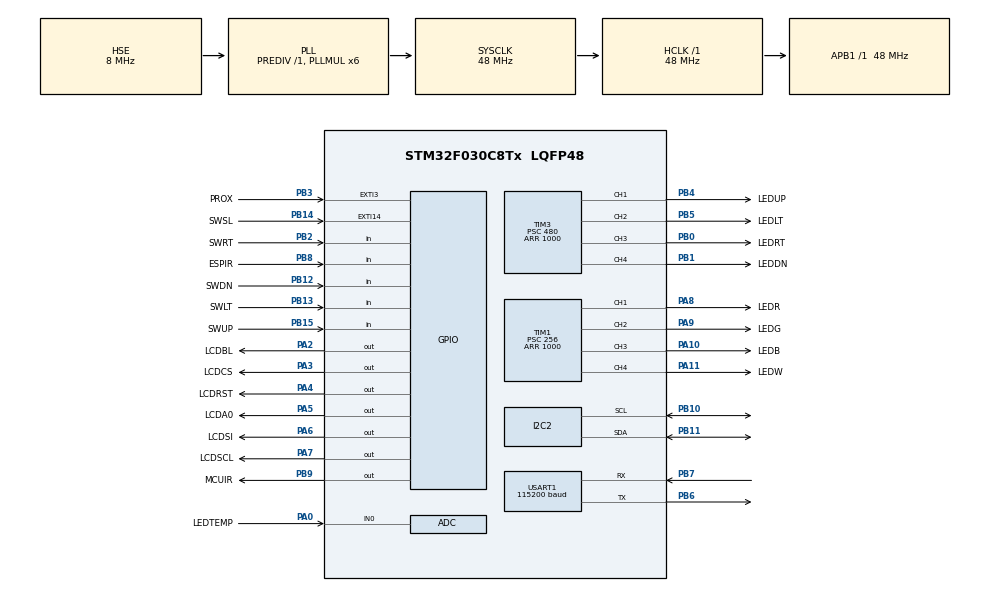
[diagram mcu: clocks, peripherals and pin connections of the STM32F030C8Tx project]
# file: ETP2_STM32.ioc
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Mcu.Family=STM32F0
RTC.AlarmMaskHours-Alarm\ A=RTC_ALARMMASK_HOURS
SH.S_TIM1_CH4.0=TIM1_CH4,PWM Generation4 CH4
Dma.USART1_TX.1.MemInc=DMA_MINC_ENABLE
PB10.Mode=I2C
USART1.BaudRate=115200
PB14.GPIO_Label=SWSL
I2C2.Timing=0xA010B3FF
PA0.GPIO_Label=LEDTEMP
VP_RTC_VS_RTC_Activate.Mode=RTC_Enabled
PA6.GPIO_Label=LCDSI
PB0.GPIO_Label=LEDRT
RTC.AlarmMaskMinutes-Alarm\ A=RTC_ALARMMASK_MINUTES
PB13.GPIO_Label=SWLT
PB11.Signal=I2C2_SDA
PB13.Signal=GPIO_Input
PB15.Signal=GPIO_Input
TIM3.Channel-PWM\ Generation4\ CH4=TIM_CHANNEL_4
VP_RTC_VS_RTC_Alarm_A_Intern.Mode=Alarm A
RCC.SYSCLKSource=RCC_SYSCLKSOURCE_PLLCLK
ProjectManager.StackSize=0x400
NVIC.RTC_IRQn=true\:1\:0\:true\:false\:true\:true\:true
TIM1.Prescaler=256
NVIC.ADC1_IRQn=true\:3\:0\:true\:false\:true\:true\:true
TIM1.Channel-PWM\ Generation4\ CH4=TIM_CHANNEL_4
PB1.GPIO_PuPd=GPIO_NOPULL
RCC.HCLKFreq_Value=48000000
TIM3.Period=1000
PB6.Signal=USART1_TX
PB6.Mode=Asynchronous
RCC.AHBFreq_Value=48000000
PB5.GPIO_ModeDefaultPP=GPIO_MODE_AF_OD
Dma.USART1_RX.0.Priority=DMA_PRIORITY_HIGH
TIM3.Channel-PWM\ Generation1\ CH1=TIM_CHANNEL_1
PB2.Signal=GPIO_Input
TIM14.Period=1000
RCC.RTCClockSelection=RCC_RTCCLKSOURCE_LSE
RTC.AlarmMaskSeconds-Alarm\ A=RTC_ALARMMASK_SECONDS
RCC.PLLMUL=RCC_PLL_MUL6
PB12.GPIO_Label=SWDN
PC14-OSC32_IN.Mode=LSE-External-Oscillator
TIM1.Channel-PWM\ Generation1\ CH1=TIM_CHANNEL_1
PA14.Mode=Serial_Wire
TIM3.Prescaler=480
PB1.GPIO_Label=LEDDN
PA10.GPIO_Label=LEDB
PA0.Mode=IN0
PB7.Signal=USART1_RX
PA8.Signal=S_TIM1_CH1
SH.S_TIM3_CH1.0=TIM3_CH1,PWM Generation1 CH1
TIM6.Period=500
Dma.USART1_RX.0.MemInc=DMA_MINC_ENABLE
VP_TIM1_VS_ClockSourceINT.Mode=Internal
Dma.USART1_TX.1.PeriphDataAlignment=DMA_PDATAALIGN_BYTE
PA0.Signal=ADC_IN0
RTC.AlarmMaskDateWeekDay-Alarm\ A=RTC_ALARMMASK_DATEWEEKDAY
Mcu.Package=LQFP48
PB9.Signal=GPIO_Output
PB1.Signal=S_TIM3_CH4
PA6.Signal=GPIO_Output
PA2.GPIO_Label=LCDBL
PA10.Signal=S_TIM1_CH3
PB9.GPIO_PuPd=GPIO_PULLUP
VP_RTC_VS_RTC_Calendar.Mode=RTC_Calendar
PB5.GPIO_Label=LEDLT
Dma.Request1=USART1_TX
RCC.APB1TimFreq_Value=48000000
Dma.USART1_RX.0.Mode=DMA_CIRCULAR
Dma.USART1_TX.1.Priority=DMA_PRIORITY_HIGH
TIM1.Period=1000
VP_TIM14_VS_ClockSourceINT.Mode=Enable_Timer
PF1-OSC_OUT.Mode=HSE-External-Oscillator
Dma.Request0=USART1_RX
PA4.GPIO_Label=LCDRST
Dma.USART1_RX.0.Instance=DMA1_Channel3
VP_TIM3_VS_ClockSourceINT.Mode=Internal
PF1-OSC_OUT.Signal=RCC_OSC_OUT
PB4.Signal=S_TIM3_CH1
PA3.Signal=GPIO_Output
Dma.USART1_TX.1.Direction=DMA_MEMORY_TO_PERIPH
PB3.GPIO_Label=PROX
PB14.GPIO_ModeDefaultEXTI=GPIO_MODE_IT_RISING_FALLING
RCC.PLLSourceVirtual=RCC_PLLSOURCE_HSE
PC15-OSC32_OUT.Mode=LSE-External-Oscillator
Dma.USART1_TX.1.Instance=DMA1_Channel2
NVIC.TIM14_IRQn=true\:1\:0\:true\:false\:true\:true\:true
Dma.USART1_RX.0.PeriphDataAlignment=DMA_PDATAALIGN_BYTE
PB9.GPIO_Label=MCUIR
PA9.GPIO_Label=LEDG
TIM6.Prescaler=480
VP_TIM6_VS_ClockSourceINT.Mode=Enable_Timer
PA11.GPIO_Label=LEDW
PC14-OSC32_IN.Signal=RCC_OSC32_IN
SH.S_TIM3_CH3.0=TIM3_CH3,PWM Generation3 CH3
NVIC.TIM6_IRQn=true\:2\:0\:true\:false\:true\:true\:true
USART1.VirtualMode-Asynchronous=VM_ASYNC
PA13.Signal=SYS_SWDIO
TIM3.Channel-PWM\ Generation3\ CH3=TIM_CHANNEL_3
PB8.GPIO_Label=ESPIR
PA8.GPIO_Label=LEDR
SH.S_TIM1_CH1.0=TIM1_CH1,PWM Generation1 CH1
PB11.Mode=I2C
ProjectManager.TargetToolchain=STM32CubeIDE
RTC.Year=20
I2C2.Analog_Filter=I2C_ANALOGFILTER_DISABLE
Dma.USART1_RX.0.Direction=DMA_PERIPH_TO_MEMORY
NVIC.I2C2_IRQn=true\:2\:0\:true\:false\:true\:true\:true
PA9.Signal=S_TIM1_CH2
TIM1.Channel-PWM\ Generation2\ CH2=TIM_CHANNEL_2
PB4.GPIO_PuPd=GPIO_NOPULL
PC15-OSC32_OUT.Signal=RCC_OSC32_OUT
Dma.USART1_RX.0.PeriphInc=DMA_PINC_DISABLE
PF0-OSC_IN.Mode=HSE-External-Oscillator
PB10.Signal=I2C2_SCL
PB14.Signal=GPXTI14
PA5.Signal=GPIO_Output
SH.S_TIM3_CH2.0=TIM3_CH2,PWM Generation2 CH2
PB4.GPIO_ModeDefaultPP=GPIO_MODE_AF_OD
PB1.GPIO_ModeDefaultPP=GPIO_MODE_AF_OD
Dma.USART1_TX.1.MemDataAlignment=DMA_MDATAALIGN_BYTE
board=custom
PB0.GPIO_ModeDefaultPP=GPIO_MODE_AF_OD
PB4.GPIO_Label=LEDUP
PB15.GPIO_Label=SWUP
SH.S_TIM1_CH2.0=TIM1_CH2,PWM Generation2 CH2
Dma.USART1_RX.0.MemDataAlignment=DMA_MDATAALIGN_BYTE
PA13.Mode=Serial_Wire
I2C2.Speed=10
Mcu.Name=STM32F030C8Tx
RTC.Alarm-Alarm\ A=RTC_ALARM_A
TIM14.Prescaler=480
PA2.Signal=GPIO_Output
PB3.Signal=GPXTI3
PA4.Signal=GPIO_Output
RCC.SYSCLKFreq_VALUE=48000000
PB5.Signal=S_TIM3_CH2
PA7.GPIO_Label=LCDSCL
PA5.GPIO_Label=LCDA0
PB5.GPIO_PuPd=GPIO_NOPULL
Dma.USART1_TX.1.Mode=DMA_NORMAL
PB7.Mode=Asynchronous
PA11.Signal=S_TIM1_CH4
VP_TIM15_VS_ClockSourceINT.Mode=Internal
PA14.Signal=SYS_SWCLK
PB2.GPIO_Label=SWRT
ProjectManager.HeapSize=0x200
Dma.USART1_TX.1.PeriphInc=DMA_PINC_DISABLE
SH.S_TIM1_CH3.0=TIM1_CH3,PWM Generation3 CH3
TIM3.Channel-PWM\ Generation2\ CH2=TIM_CHANNEL_2
NVIC.DMA1_Channel2_3_IRQn=true\:0\:0\:false\:false\:true\:false\:true
PB8.Signal=GPIO_Input
PF0-OSC_IN.Signal=RCC_OSC_IN
TIM1.Channel-PWM\ Generation3\ CH3=TIM_CHANNEL_3
RCC.APB1Freq_Value=48000000
PB0.Signal=S_TIM3_CH3
PB12.Signal=GPIO_Input
PB0.GPIO_PuPd=GPIO_NOPULL
PA3.GPIO_Label=LCDCS
SH.S_TIM3_CH4.0=TIM3_CH4,PWM Generation4 CH4
PA7.Signal=GPIO_Output

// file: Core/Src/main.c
/* USER CODE BEGIN Header */
/**
  ******************************************************************************
  * @file           : main.c
  * @brief          : Main program body
  ******************************************************************************
  * @attention
  *
  * <h2><center>&copy; Copyright (c) 2020 STMicroelectronics.
  * All rights reserved.</center></h2>
  *
  * This software component is licensed by ST under BSD 3-Clause license,
  * the "License"; You may not use this file except in compliance with the
  * License. You may obtain a copy of the License at:
  *                        opensource.org/licenses/BSD-3-Clause
  *
  ******************************************************************************
  */
/* USER CODE END Header */

#include "main.h"
#include "adc.h"
#include "dma.h"
#include "i2c.h"
#include "rtc.h"
#include "tim.h"
#include "usart.h"
#include "gpio.h"

/* USER CODE BEGIN Includes */
#include "shtc3.h"
#include "st7565.h"
#include <string.h>
#include "event_handler.h"
#include "state_machine.h"
#include "action_handler.h"
/* USER CODE END Includes */

/* USER CODE BEGIN PD */
#define SMOOTH_LEN      64U     // Must have 2 as a base
#define SMOOTH_SHIFT    6U      // Must be the exponent of SMOOTH_LEN

// UART defines
#define UART_DATA_LEN   5U

// LED enums and structs
typedef enum {
    cRed = 0,
    cGreen = 1,
    cBlue = 2,
    cBrightness = 3 // I know, this is not a color
} colorInput;

typedef struct {
    uint8_t colors[4][SMOOTH_LEN];
    uint8_t time[4];
} Smoother_TypeDef;
/* USER CODE END PD */

/* USER CODE BEGIN PV */

// UART variables
uint8_t uartRxData[UART_DATA_LEN] = {0};    // Most recent data
uint8_t workingData[4] = {0};
uint8_t setData[4] = {0};                   // Data currently displayed
uint8_t tempData[4];

// LED variables
uint16_t rgbwValues[4];
uint8_t lightSwitch = 0;
Smoother_TypeDef smoother = {0};
uint8_t userOverride = 0;
uint16_t userRed = 0;
uint16_t userGreen = 0;
uint16_t userBlue = 0;
uint16_t userWhite = 0;

// I2C buffer
//uint8_t shtc3RxBuf[6];
//uint8_t shtc3TxBuf[2];

// RTC ISR
static uint8_t counter = 0;

/* USER CODE END PV */

void SystemClock_Config(void);
/* USER CODE BEGIN PFP */
uint8_t ColorSmoother(Smoother_TypeDef *holder, uint8_t input, colorInput color);
/* USER CODE END PFP */

int main(void)
{

  /* MCU Configuration--------------------------------------------------------*/

  /* Reset of all peripherals, Initializes the Flash interface and the Systick. */
  HAL_Init();

  /* Configure the system clock */
  SystemClock_Config();

  /* Initialize all configured peripherals */
  MX_GPIO_Init();
  MX_DMA_Init();
  MX_RTC_Init();
  MX_TIM1_Init();
  MX_TIM15_Init();
  MX_USART1_UART_Init();
  MX_ADC_Init();
  MX_I2C2_Init();
  MX_TIM3_Init();
  MX_TIM6_Init();
  MX_TIM14_Init();
  /* USER CODE BEGIN 2 */

    HAL_RTC_DeactivateAlarm(&hrtc, RTC_ALARM_A);

    __HAL_TIM_SET_COMPARE(&htim3, LED_CH_UP, 900);
    HAL_TIM_PWM_Start(&htim3, LED_CH_UP);
    __HAL_TIM_SET_COMPARE(&htim3, LED_CH_DN, 900);
    HAL_TIM_PWM_Start(&htim3, LED_CH_DN);
    __HAL_TIM_SET_COMPARE(&htim3, LED_CH_LT, 900);
    HAL_TIM_PWM_Start(&htim3, LED_CH_LT);
    __HAL_TIM_SET_COMPARE(&htim3, LED_CH_RT, 900);
    HAL_TIM_PWM_Start(&htim3, LED_CH_RT);

    //HAL_TIM_Base_Start_IT(&htim6);	// Color change timer

    //HAL_I2C_Master_Transmit(&hi2c2, SHTC3_ADDR,

    st7565_init();
    st7565_backlight_enable();
    st7565_set_brightness(0);

    HAL_Delay(10);

    // Show startup screen
    st7565_clear_buffer();
    st7565_drawbitmap(43, 5, atom_symbol, 43, 51, 10);
    st7565_drawstring(22, 7, "Moodlight 2020");
    st7565_drawstring(0, 0, "Manuel");
    st7565_drawstring(0, 1, "Schmid");
    st7565_drawstring(85, 0, "Lukas");
    st7565_drawstring(85, 1, "Eugster");
    st7565_write_buffer();

    HAL_Delay(3000);
    st7565_clear_buffer();

    event_t event;
    fsm_init();

    // RTC init
    RTC_AlarmTypeDef sAlarm;
    HAL_RTC_GetAlarm(&hrtc, &sAlarm, RTC_ALARM_A, RTC_FORMAT_BCD);
    HAL_RTC_SetAlarm_IT(&hrtc, &sAlarm, RTC_FORMAT_BCD);

    // UART init
    HAL_UART_Receive_DMA(&huart1, uartRxData, UART_DATA_LEN);
    HAL_UART_DMAStop(&huart1);
    HAL_UART_Receive_DMA(&huart1, uartRxData, UART_DATA_LEN);
    HAL_TIM_Base_Start_IT(&htim6);

  /* USER CODE END 2 */

  /* Infinite loop */
  /* USER CODE BEGIN WHILE */

#pragma clang diagnostic push
#pragma ide diagnostic ignored "EndlessLoop"
    while (1) {

        event = eh_get_event();
        if (event != EV_NO_EVENT) {
            fsm_handle_event(event);
        }
    /* USER CODE END WHILE */

    /* USER CODE BEGIN 3 */
    }
#pragma clang diagnostic pop
  /* USER CODE END 3 */
}

void SystemClock_Config(void)
{
  RCC_OscInitTypeDef RCC_OscInitStruct = {0};
  RCC_ClkInitTypeDef RCC_ClkInitStruct = {0};
  RCC_PeriphCLKInitTypeDef PeriphClkInit = {0};

  /** Configure LSE Drive Capability
  */
  HAL_PWR_EnableBkUpAccess();
  __HAL_RCC_LSEDRIVE_CONFIG(RCC_LSEDRIVE_HIGH);
  /** Initializes the CPU, AHB and APB busses clocks
  */
  RCC_OscInitStruct.OscillatorType = RCC_OSCILLATORTYPE_HSI14|RCC_OSCILLATORTYPE_HSE
                              |RCC_OSCILLATORTYPE_LSE;
  RCC_OscInitStruct.HSEState = RCC_HSE_ON;
  RCC_OscInitStruct.LSEState = RCC_LSE_ON;
  RCC_OscInitStruct.HSI14State = RCC_HSI14_ON;
  RCC_OscInitStruct.HSI14CalibrationValue = 16;
  RCC_OscInitStruct.PLL.PLLState = RCC_PLL_ON;
  RCC_OscInitStruct.PLL.PLLSource = RCC_PLLSOURCE_HSE;
  RCC_OscInitStruct.PLL.PLLMUL = RCC_PLL_MUL6;
  RCC_OscInitStruct.PLL.PREDIV = RCC_PREDIV_DIV1;
  if (HAL_RCC_OscConfig(&RCC_OscInitStruct) != HAL_OK)
  {
    Error_Handler();
  }
  /** Initializes the CPU, AHB and APB busses clocks
  */
  RCC_ClkInitStruct.ClockType = RCC_CLOCKTYPE_HCLK|RCC_CLOCKTYPE_SYSCLK
                              |RCC_CLOCKTYPE_PCLK1;
  RCC_ClkInitStruct.SYSCLKSource = RCC_SYSCLKSOURCE_PLLCLK;
  RCC_ClkInitStruct.AHBCLKDivider = RCC_SYSCLK_DIV1;
  RCC_ClkInitStruct.APB1CLKDivider = RCC_HCLK_DIV1;

  if (HAL_RCC_ClockConfig(&RCC_ClkInitStruct, FLASH_LATENCY_1) != HAL_OK)
  {
    Error_Handler();
  }
  PeriphClkInit.PeriphClockSelection = RCC_PERIPHCLK_USART1|RCC_PERIPHCLK_RTC;
  PeriphClkInit.Usart1ClockSelection = RCC_USART1CLKSOURCE_PCLK1;
  PeriphClkInit.RTCClockSelection = RCC_RTCCLKSOURCE_LSE;
  if (HAL_RCCEx_PeriphCLKConfig(&PeriphClkInit) != HAL_OK)
  {
    Error_Handler();
  }
}

/* USER CODE BEGIN 4 */
void HAL_TIM_PeriodElapsedCallback(TIM_HandleTypeDef *htim)
{
	if (htim->Instance == TIM6) {
        if (lightSwitch && !userOverride) {
            tempData[0] = workingData[0];
            tempData[1] = workingData[1];
            tempData[2] = workingData[2];
            tempData[3] = workingData[3];
            uint8_t red     = ColorSmoother(&smoother, tempData[0], cRed);
            uint8_t green   = ColorSmoother(&smoother, tempData[1], cGreen);
            uint8_t blue    = ColorSmoother(&smoother, tempData[2], cBlue);
            uint8_t bright  = ColorSmoother(&smoother, tempData[3], cBrightness);

            // Convert RGB to RGBW
            if ((setData[0] != red) || (setData[1] != green) || (setData[2] != blue) || (setData[3] != bright)) {
                uint8_t white;  // Also min value
                uint8_t max;

                // Find min and max values
                if (red <= green) {
                    if (red <= blue) {          // red <= (green && blue)
                        white = red;
                        if (blue >= green) {    // red <= green <= blue
                            max = blue;
                        } else {
                            max = green;        // red <= blue < green
                        }
                    } else {                    // blue < red <= green
                        white = blue;
                        max = green;
                    }
                } else if (green <= blue) {     // green <= (red && blue)
                    white = green;
                    if (blue >= red) {          // green <= red <= blue
                        max = blue;
                    } else {                    // green <= blue < red
                        max = red;
                    }
                } else {                        // blue < green < red
                    white = blue;
                    max = red;
                }

                float multiplier = (float)white / 255.0f / (float)max + 1.0f;

                rgbwValues[0] = multiplier * (float)red - (float)white;
                rgbwValues[1] = multiplier * (float)green - (float)white;
                rgbwValues[2] = multiplier * (float)blue - (float)white;
                rgbwValues[3] = white;

                float brightness = (float)bright / 100.0f;
                for (uint8_t i = 0; i < 4; i++) {
                    rgbwValues[i] = rgbwValues[i] << 1U;    // Adjust scale (max. value 255 becomes 510)
                    rgbwValues[i] *= brightness;            // Scale with brightness
                }

                // Apply new RGBW values
                ah_setPWM(&htim1, rgbwValues[0], rgbwValues[1], rgbwValues[2], rgbwValues[3]);

                setData[0] = tempData[0];
                setData[1] = tempData[1];
                setData[2] = tempData[2];
                setData[3] = tempData[3];
            }
        } else if (!lightSwitch && !userOverride) {
            ColorSmoother(&smoother, 0, cRed);
            ColorSmoother(&smoother, 0, cGreen);
            ColorSmoother(&smoother, 0, cBlue);
            ColorSmoother(&smoother, 0, cBrightness);
            ah_setPWM(&htim1, 0, 0, 0, 0);
        } else if (userOverride) {
            ah_setPWM(&htim1, userRed, userGreen, userBlue, userWhite);
        }
	}
}

void HAL_RTC_AlarmAEventCallback(RTC_HandleTypeDef *hrtc) {
    if (state == HOME_SCREEN) {
        if (counter < 4) {
            counter += 1;
        } else {
            st7565_clear_buffer();
            ah_draw_time();
            ah_draw_date();
            ah_draw_sensor();
            ah_draw_snooze();
            ah_draw_alarm();
            counter = 0;
        }
    }
}

void HAL_UART_RxCpltCallback(UART_HandleTypeDef *huart) {
    lightSwitch = uartRxData[1];
    workingData[0] = uartRxData[2]; // Red
    workingData[1] = uartRxData[3]; // Green
    workingData[2] = uartRxData[4]; // Blue
    workingData[3] = uartRxData[0]; // Brightness
    userOverride = 0;
}

uint8_t ColorSmoother(Smoother_TypeDef *holder, uint8_t input, colorInput color) {
    if (holder->time[color] >= SMOOTH_LEN) {
        holder->time[color] = 0;
    }

    holder->colors[color][holder->time[color]] = input;

    uint16_t sum = 0;
    for(uint8_t i = 0; i < SMOOTH_LEN; i++) {
        sum += holder->colors[color][i];
    }

    holder->time[color]++;
    return (uint8_t)(sum >> SMOOTH_SHIFT);
}
/* USER CODE END 4 */

void Error_Handler(void)
{
}

/************************ (C) COPYRIGHT STMicroelectronics *****END OF FILE****/
